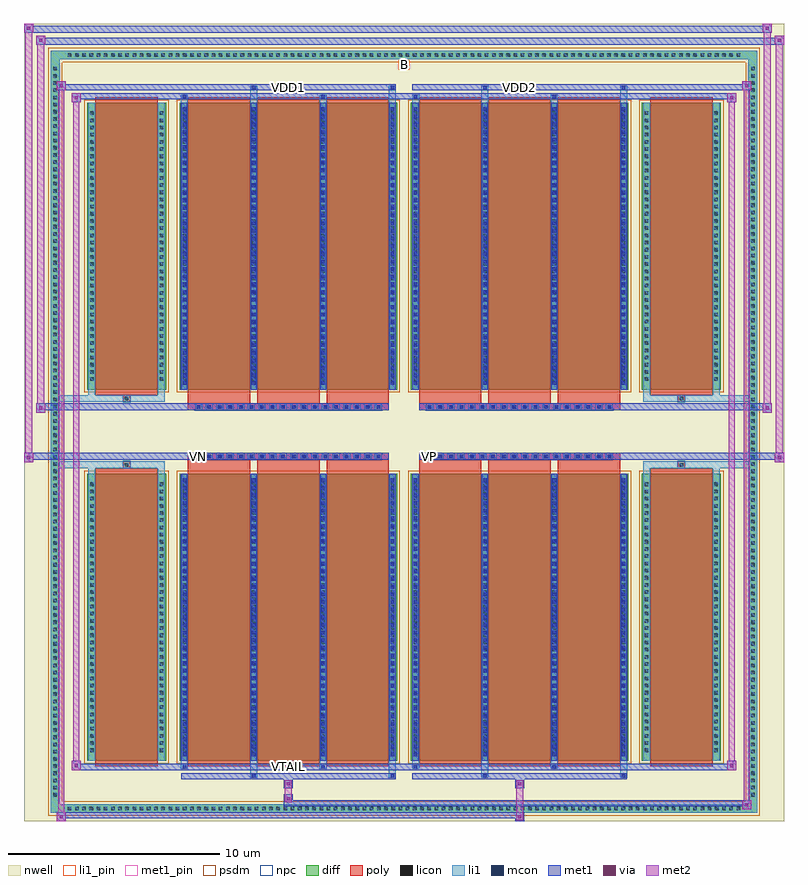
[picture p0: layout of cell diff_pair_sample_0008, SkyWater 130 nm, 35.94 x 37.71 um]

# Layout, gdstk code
import gdstk
lib = gdstk.Library(unit=1e-6, precision=5e-09)
def R(c, l, rs):  # rectangles x0, y0, x1, y1
    for r in rs: c.add(gdstk.rectangle(r[:2], r[2:], *l))
def A(c, l, x, y, w, h, nx, ny, dx, dy):  # array of equal rectangles
    R(c, l, [(x+i*dx, y+j*dy, x+i*dx+w, y+j*dy+h) for i in range(nx) for j in range(ny)])
def P(c, l, *ps):  # polygons
    for p in ps: c.add(gdstk.Polygon(p, *l))
nwell = (64, 20)
diff = (65, 20)
poly = (66, 20)
licon = (66, 44)
li1_pin = (67, 16)
li1 = (67, 20)
mcon = (67, 44)
met1_pin = (68, 16)
met1 = (68, 20)
via = (68, 44)
met2 = (69, 20)
psdm = (94, 20)
npc = (95, 20)

diff_pair_sample_0008 = lib.new_cell('diff_pair_sample_0008')
R(diff_pair_sample_0008, nwell, [(-17.97,-18.42,17.97,19.29), (-15.29,-16.61,-0.01,-0.805), (0.01,-16.61,15.29,-0.805), (-15.29,0.805,-0.01,16.61), (0.01,0.805,15.29,16.61)])
A(diff_pair_sample_0008, diff, -16.015, -18.02, 0.41, 0.41, 94, 2, 0.34, 35.63)
A(diff_pair_sample_0008, diff, -16.7, -17.375, 0.41, 0.41, 1, 102, 0, 0.34)
A(diff_pair_sample_0008, diff, 16.29, -17.375, 0.41, 0.41, 1, 102, 0, 0.34)
R(diff_pair_sample_0008, diff, [(-16.015,-18.02,16.015,-17.61), (-16.7,-17.375,-16.29,17.375), (16.29,-17.375,16.7,17.375), (-14.98,-15.565,-11.25,-1.985), (-10.61,-15.565,-0.32,-1.985), (0.32,-15.565,10.61,-1.985), (11.25,-15.565,14.98,-1.985), (-14.98,1.985,-11.25,15.565), (-10.61,1.985,-0.32,15.565), (0.32,1.985,10.61,15.565), (11.25,1.985,14.98,15.565), (-16.015,17.61,16.015,18.02)])
P(diff_pair_sample_0008, diff, [(16.7,18.02),(-16.7,18.02),(-16.7,-17.61),(-16.29,-17.61),(-16.29,17.61),(16.29,17.61),(16.29,-17.61),(-16.29,-17.61),(-16.7,-17.61),(-16.7,-18.02),(16.7,-18.02)])
A(diff_pair_sample_0008, poly, -10.22, -15.815, 2.95, 14.08, 3, 2, 3.28, 17.55)
A(diff_pair_sample_0008, poly, 0.71, -15.815, 2.95, 14.08, 3, 2, 3.28, 17.55)
A(diff_pair_sample_0008, poly, -10.22, -1.735, 2.95, 0.4, 3, 2, 3.28, 3.07)
A(diff_pair_sample_0008, poly, 0.71, -1.735, 2.95, 0.4, 3, 2, 3.28, 3.07)
A(diff_pair_sample_0008, poly, -9.88, -1.335, 0.33, 0.33, 18, 2, 0.5, 2.34)
A(diff_pair_sample_0008, poly, 1.05, -1.335, 0.33, 0.33, 18, 2, 0.5, 2.34)
R(diff_pair_sample_0008, poly, [(-14.59,-15.815,-11.64,-1.735), (11.64,-15.815,14.59,-1.735), (-13.28,-1.735,-12.95,-1.405), (-13.28,-1.735,-12.95,-1.405), (12.95,-1.735,13.28,-1.405), (12.95,-1.735,13.28,-1.405), (-10.22,-1.335,-0.71,-1.005), (0.71,-1.335,10.22,-1.005), (-10.22,1.005,-0.71,1.335), (0.71,1.005,10.22,1.335), (-13.28,1.405,-12.95,1.735), (-13.28,1.405,-12.95,1.735), (12.95,1.405,13.28,1.735), (12.95,1.405,13.28,1.735), (-14.59,1.735,-11.64,15.815), (11.64,1.735,14.59,15.815)])
A(diff_pair_sample_0008, licon, -15.895, -17.9, 0.17, 0.17, 94, 2, 0.34, 35.63)
A(diff_pair_sample_0008, licon, -16.58, -17.255, 0.17, 0.17, 1, 102, 0, 0.34)
A(diff_pair_sample_0008, licon, 16.41, -17.255, 0.17, 0.17, 1, 102, 0, 0.34)
A(diff_pair_sample_0008, licon, -14.84, -15.15, 0.17, 0.17, 1, 38, 0, 0.34)
A(diff_pair_sample_0008, licon, -11.56, -15.15, 0.17, 0.17, 1, 38, 0, 0.34)
A(diff_pair_sample_0008, licon, -10.47, -15.15, 0.17, 0.17, 4, 38, 3.28, 0.34)
A(diff_pair_sample_0008, licon, 0.46, -15.15, 0.17, 0.17, 4, 38, 3.28, 0.34)
A(diff_pair_sample_0008, licon, 11.39, -15.15, 0.17, 0.17, 1, 38, 0, 0.34)
A(diff_pair_sample_0008, licon, 14.67, -15.15, 0.17, 0.17, 1, 38, 0, 0.34)
A(diff_pair_sample_0008, licon, -9.8, -1.255, 0.17, 0.17, 18, 2, 0.5, 2.34)
A(diff_pair_sample_0008, licon, 1.13, -1.255, 0.17, 0.17, 18, 2, 0.5, 2.34)
A(diff_pair_sample_0008, licon, -14.84, 2.4, 0.17, 0.17, 1, 38, 0, 0.34)
A(diff_pair_sample_0008, licon, -11.56, 2.4, 0.17, 0.17, 1, 38, 0, 0.34)
A(diff_pair_sample_0008, licon, -10.47, 2.4, 0.17, 0.17, 4, 38, 3.28, 0.34)
A(diff_pair_sample_0008, licon, 0.46, 2.4, 0.17, 0.17, 4, 38, 3.28, 0.34)
A(diff_pair_sample_0008, licon, 11.39, 2.4, 0.17, 0.17, 1, 38, 0, 0.34)
A(diff_pair_sample_0008, licon, 14.67, 2.4, 0.17, 0.17, 1, 38, 0, 0.34)
R(diff_pair_sample_0008, licon, [(-13.2,-1.655,-13.03,-1.485), (13.03,-1.655,13.2,-1.485), (-13.2,1.485,-13.03,1.655), (13.03,1.485,13.2,1.655)])
R(diff_pair_sample_0008, li1_pin, [(-0.25,17.11,0.25,17.61)])
A(diff_pair_sample_0008, li1, -15.975, -17.98, 0.33, 0.33, 94, 2, 0.34, 35.63)
A(diff_pair_sample_0008, li1, -16.66, -17.335, 0.33, 0.33, 1, 102, 0, 0.34)
A(diff_pair_sample_0008, li1, 16.33, -17.335, 0.33, 0.33, 1, 102, 0, 0.34)
A(diff_pair_sample_0008, li1, -10.55, -15.565, 0.33, 13.58, 4, 2, 3.28, 17.55)
A(diff_pair_sample_0008, li1, 0.38, -15.565, 0.33, 13.58, 4, 2, 3.28, 17.55)
A(diff_pair_sample_0008, li1, -10.47, -15.34, 0.17, 0.17, 4, 37, 3.28, 0.36)
A(diff_pair_sample_0008, li1, -10.47, -15.34, 0.17, 13.13, 4, 2, 3.28, 17.55)
A(diff_pair_sample_0008, li1, 0.46, -15.34, 0.17, 0.17, 4, 37, 3.28, 0.36)
A(diff_pair_sample_0008, li1, 0.46, -15.34, 0.17, 13.13, 4, 2, 3.28, 17.55)
A(diff_pair_sample_0008, li1, -14.92, -15.23, 0.33, 0.33, 1, 38, 0, 0.34)
A(diff_pair_sample_0008, li1, -11.64, -15.23, 0.33, 0.33, 1, 38, 0, 0.34)
A(diff_pair_sample_0008, li1, -10.55, -15.23, 0.33, 0.33, 4, 38, 3.28, 0.34)
A(diff_pair_sample_0008, li1, 0.38, -15.23, 0.33, 0.33, 4, 38, 3.28, 0.34)
A(diff_pair_sample_0008, li1, 11.31, -15.23, 0.33, 0.33, 1, 38, 0, 0.34)
A(diff_pair_sample_0008, li1, 14.59, -15.23, 0.33, 0.33, 1, 38, 0, 0.34)
A(diff_pair_sample_0008, li1, -9.88, -1.335, 0.33, 0.33, 18, 2, 0.5, 2.34)
A(diff_pair_sample_0008, li1, 1.05, -1.335, 0.33, 0.33, 18, 2, 0.5, 2.34)
A(diff_pair_sample_0008, li1, -10.47, 2.21, 0.17, 0.17, 4, 37, 3.28, 0.36)
A(diff_pair_sample_0008, li1, 0.46, 2.21, 0.17, 0.17, 4, 37, 3.28, 0.36)
A(diff_pair_sample_0008, li1, -14.92, 2.32, 0.33, 0.33, 1, 38, 0, 0.34)
A(diff_pair_sample_0008, li1, -11.64, 2.32, 0.33, 0.33, 1, 38, 0, 0.34)
A(diff_pair_sample_0008, li1, -10.55, 2.32, 0.33, 0.33, 4, 38, 3.28, 0.34)
A(diff_pair_sample_0008, li1, 0.38, 2.32, 0.33, 0.33, 4, 38, 3.28, 0.34)
A(diff_pair_sample_0008, li1, 11.31, 2.32, 0.33, 0.33, 1, 38, 0, 0.34)
A(diff_pair_sample_0008, li1, 14.59, 2.32, 0.33, 0.33, 1, 38, 0, 0.34)
R(diff_pair_sample_0008, li1, [(-16.7,-18.02,-16.29,-17.61), (-16.7,-18.02,-16.29,-17.61), (-16.29,-18.02,16.29,-17.61), (16.29,-18.02,16.7,-17.61), (16.29,-18.02,16.7,-17.61), (-16.7,-17.61,-16.29,17.61), (16.29,-17.61,16.7,17.61), (-7.27,-16.37,-6.94,-15.565), (-7.19,-16.37,-7.02,-16.2), (-0.71,-16.37,-0.38,-15.565), (-0.63,-16.37,-0.46,-16.2), (3.66,-16.37,3.99,-15.565), (3.74,-16.37,3.91,-16.2), (10.22,-16.37,10.55,-15.565), (10.3,-16.37,10.47,-16.2), (-10.55,-15.94,-10.22,-15.565), (-10.47,-15.94,-10.3,-15.77), (-3.99,-15.94,-3.66,-15.565), (-3.91,-15.94,-3.74,-15.77), (0.38,-15.94,0.71,-15.565), (0.46,-15.94,0.63,-15.77), (6.94,-15.94,7.27,-15.565), (7.02,-15.94,7.19,-15.77), (-14.92,-15.565,-14.59,-1.985), (-11.64,-15.565,-11.31,-1.985), (11.31,-15.565,11.64,-1.985), (14.59,-15.565,14.92,-1.985), (-14.92,-1.985,-14.59,-1.405), (-11.64,-1.985,-11.31,-1.405), (11.31,-1.985,11.64,-1.405), (14.59,-1.985,14.92,-1.405), (-16.7,-1.735,-13.28,-1.405), (-14.92,-1.735,-13.28,-1.405), (-13.28,-1.735,-12.95,-1.405), (-12.95,-1.735,-11.31,-1.405), (11.31,-1.735,12.95,-1.405), (12.95,-1.735,13.28,-1.405), (12.95,-1.735,16.7,-1.405), (13.28,-1.735,14.92,-1.405), (-16.7,1.405,-13.28,1.735), (-14.92,1.405,-13.28,1.735), (-14.92,1.405,-14.59,1.985), (-13.28,1.405,-12.95,1.735), (-12.95,1.405,-11.31,1.735), (-11.64,1.405,-11.31,1.985), (11.31,1.405,12.95,1.735), (11.31,1.405,11.64,1.985), (12.95,1.405,13.28,1.735), (12.95,1.405,16.7,1.735), (13.28,1.405,14.92,1.735), (14.59,1.405,14.92,1.985), (-14.92,1.985,-14.59,15.565), (-11.64,1.985,-11.31,15.565), (11.31,1.985,11.64,15.565), (14.59,1.985,14.92,15.565), (-10.55,15.565,-10.22,15.94), (-7.27,15.565,-6.94,16.37), (-3.99,15.565,-3.66,15.94), (-0.71,15.565,-0.38,16.37), (0.38,15.565,0.71,15.94), (3.66,15.565,3.99,16.37), (6.94,15.565,7.27,15.94), (10.22,15.565,10.55,16.37), (-10.47,15.77,-10.3,15.94), (-3.91,15.77,-3.74,15.94), (0.46,15.77,0.63,15.94), (7.02,15.77,7.19,15.94), (-7.19,16.2,-7.02,16.37), (-0.63,16.2,-0.46,16.37), (3.74,16.2,3.91,16.37), (10.3,16.2,10.47,16.37), (-16.7,17.61,-16.29,18.02), (-16.7,17.61,-16.29,18.02), (-16.29,17.61,16.29,18.02), (16.29,17.61,16.7,18.02), (16.29,17.61,16.7,18.02)])
A(diff_pair_sample_0008, mcon, -10.47, -15.34, 0.17, 0.17, 4, 37, 3.28, 0.36)
A(diff_pair_sample_0008, mcon, 0.46, -15.34, 0.17, 0.17, 4, 37, 3.28, 0.36)
A(diff_pair_sample_0008, mcon, -9.8, -1.255, 0.17, 0.17, 18, 2, 0.5, 2.34)
A(diff_pair_sample_0008, mcon, 1.13, -1.255, 0.17, 0.17, 18, 2, 0.5, 2.34)
A(diff_pair_sample_0008, mcon, -10.47, 2.21, 0.17, 0.17, 4, 37, 3.28, 0.36)
A(diff_pair_sample_0008, mcon, 0.46, 2.21, 0.17, 0.17, 4, 37, 3.28, 0.36)
R(diff_pair_sample_0008, mcon, [(-7.19,-16.37,-7.02,-16.2), (-0.63,-16.37,-0.46,-16.2), (3.74,-16.37,3.91,-16.2), (10.3,-16.37,10.47,-16.2), (-10.47,-15.94,-10.3,-15.77), (-3.91,-15.94,-3.74,-15.77), (0.46,-15.94,0.63,-15.77), (7.02,-15.94,7.19,-15.77), (-10.47,15.77,-10.3,15.94), (-3.91,15.77,-3.74,15.94), (0.46,15.77,0.63,15.94), (7.02,15.77,7.19,15.94), (-7.19,16.2,-7.02,16.37), (-0.63,16.2,-0.46,16.37), (3.74,16.2,3.91,16.37), (10.3,16.2,10.47,16.37)])
R(diff_pair_sample_0008, met1_pin, [(-5.6,-15.98,-5.33,-15.71), (-9.85,-1.295,-9.58,-1.025), (1.08,-1.295,1.35,-1.025), (-5.6,16.16,-5.33,16.43), (5.33,16.16,5.6,16.43)])
A(diff_pair_sample_0008, met1, -10.53, -15.565, 0.29, 13.58, 4, 2, 3.28, 17.55)
A(diff_pair_sample_0008, met1, 0.4, -15.565, 0.29, 13.58, 4, 2, 3.28, 17.55)
A(diff_pair_sample_0008, met1, -10.53, -15.4, 0.29, 0.29, 4, 37, 3.28, 0.36)
A(diff_pair_sample_0008, met1, 0.4, -15.4, 0.29, 0.29, 4, 37, 3.28, 0.36)
A(diff_pair_sample_0008, met1, -9.86, -1.315, 0.29, 0.29, 18, 2, 0.5, 2.34)
A(diff_pair_sample_0008, met1, 1.07, -1.315, 0.29, 0.29, 18, 2, 0.5, 2.34)
A(diff_pair_sample_0008, met1, -10.53, 2.15, 0.29, 0.29, 4, 37, 3.28, 0.36)
A(diff_pair_sample_0008, met1, 0.4, 2.15, 0.29, 0.29, 4, 37, 3.28, 0.36)
R(diff_pair_sample_0008, met1, [(-16.43,-18.42,-16,-17.99), (5.25,-18.42,5.68,-17.99), (-16.43,-18.28,5.68,-17.99), (16,-17.85,16.43,-17.42), (-5.68,-17.71,16.43,-17.42), (-5.68,-17.57,-5.25,-17.14), (-5.68,-16.86,-5.25,-16.43), (5.25,-16.86,5.68,-16.43), (-10.53,-16.43,-0.4,-16.14), (-7.25,-16.43,-6.96,-16.14), (-0.69,-16.43,-0.4,-16.14), (0.4,-16.43,10.53,-16.14), (3.68,-16.43,3.97,-16.14), (10.24,-16.43,10.53,-16.14), (-15.72,-16,-15.29,-15.57), (-15.72,-16,-10.53,-15.71), (-10.53,-16,-10.24,-15.71), (-10.53,-16,-0.4,-15.71), (-3.97,-16,-3.68,-15.71), (-0.4,-16,0.4,-15.71), (0.4,-16,0.69,-15.71), (0.4,-16,10.53,-15.71), (6.96,-16,7.25,-15.71), (10.53,-16,15.72,-15.71), (15.29,-16,15.72,-15.57), (-17.97,-1.435,-17.54,-1.005), (17.54,-1.435,17.97,-1.005), (-17.97,-1.335,-0.71,-1.005), (-10.22,-1.335,-0.71,-1.005), (0.71,-1.335,10.22,-1.005), (0.71,-1.335,17.97,-1.005), (-17.4,0.905,-16.97,1.335), (16.97,0.905,17.4,1.335), (-17.4,1.005,-10.22,1.335), (-10.22,1.005,-0.71,1.335), (0.71,1.005,10.22,1.335), (10.22,1.005,17.4,1.335), (-15.72,15.57,-15.29,16), (15.29,15.57,15.72,16), (-15.72,15.71,-10.53,16), (-10.53,15.71,-10.24,16), (-10.53,15.71,-0.4,16), (-3.97,15.71,-3.68,16), (-0.4,15.71,0.4,16), (0.4,15.71,0.69,16), (0.4,15.71,10.53,16), (6.96,15.71,7.25,16), (10.53,15.71,15.72,16), (-16.43,16.14,-16,16.57), (-16.43,16.14,-10.53,16.43), (-10.53,16.14,-0.4,16.43), (-7.25,16.14,-6.96,16.43), (-0.69,16.14,-0.4,16.43), (0.4,16.14,10.53,16.43), (3.68,16.14,3.97,16.43), (10.24,16.14,10.53,16.43), (10.53,16.14,16.43,16.43), (16,16.14,16.43,16.57), (-17.4,18.29,-16.97,18.72), (-17.4,18.29,-15.29,18.62), (-15.29,18.29,15.29,18.62), (15.29,18.29,17.97,18.62), (17.54,18.29,17.97,18.72), (-17.97,18.86,-17.54,19.29), (-17.97,18.86,-15.29,19.19), (-15.29,18.86,15.29,19.19), (15.29,18.86,17.4,19.19), (16.97,18.86,17.4,19.29)])
R(diff_pair_sample_0008, via, [(-16.29,-18.28,-16.14,-18.13), (5.39,-18.28,5.54,-18.13), (16.14,-17.71,16.29,-17.56), (-5.54,-17.43,-5.39,-17.28), (-5.54,-16.72,-5.39,-16.57), (5.39,-16.72,5.54,-16.57), (-15.58,-15.86,-15.43,-15.71), (15.43,-15.86,15.58,-15.71), (-17.83,-1.295,-17.68,-1.145), (17.68,-1.295,17.83,-1.145), (-17.26,1.045,-17.11,1.195), (17.11,1.045,17.26,1.195), (-15.58,15.71,-15.43,15.86), (15.43,15.71,15.58,15.86), (-16.29,16.28,-16.14,16.43), (16.14,16.28,16.29,16.43), (-17.26,18.43,-17.11,18.58), (17.68,18.43,17.83,18.58), (-17.83,19,-17.68,19.15), (17.11,19,17.26,19.15)])
R(diff_pair_sample_0008, met2, [(-16.43,-18.42,-16,-17.99), (-16.36,-18.42,-16.07,16.57), (-16.07,-18.42,-16,-17.99), (-16.38,-18.37,-16.05,-18.04), (5.3,-18.37,5.63,-18.04), (5.3,-18.04,5.63,-16.81), (16,-17.85,16.43,-17.42), (16.07,-17.85,16.36,16.57), (16.36,-17.85,16.43,-17.42), (16.05,-17.8,16.38,-17.47), (-5.63,-17.52,-5.3,-17.19), (-5.63,-17.19,-5.3,-16.81), (-5.63,-16.81,-5.3,-16.48), (5.3,-16.81,5.63,-16.48), (-15.72,-16,-15.29,-15.57), (-15.65,-16,-15.36,16), (-15.36,-16,-15.29,-15.57), (15.29,-16,15.72,-15.57), (15.36,-16,15.65,16), (15.65,-16,15.72,-15.57), (-15.67,-15.95,-15.34,-15.62), (15.34,-15.95,15.67,-15.62), (-17.97,-1.435,-17.54,-1.005), (-17.92,-1.435,-17.59,19.29), (-17.59,-1.435,-17.54,-1.005), (17.54,-1.435,17.97,-1.005), (17.59,-1.435,17.92,18.72), (17.92,-1.435,17.97,-1.005), (-17.92,-1.385,-17.59,-1.055), (17.59,-1.385,17.92,-1.055), (-17.4,0.905,-16.97,1.335), (-17.35,0.905,-17.02,18.72), (-17.02,0.905,-16.97,1.335), (16.97,0.905,17.4,1.335), (17.02,0.905,17.35,19.29), (17.35,0.905,17.4,1.335), (-17.35,0.955,-17.02,1.285), (17.02,0.955,17.35,1.285), (-15.72,15.57,-15.29,16), (-15.36,15.57,-15.29,16), (15.29,15.57,15.72,16), (15.65,15.57,15.72,16), (-15.67,15.62,-15.34,15.95), (15.34,15.62,15.67,15.95), (-16.43,16.14,-16,16.57), (-16.07,16.14,-16,16.57), (16,16.14,16.43,16.57), (16.36,16.14,16.43,16.57), (-16.38,16.19,-16.05,16.52), (16.05,16.19,16.38,16.52), (-17.4,18.29,-16.97,18.72), (-17.02,18.29,-16.97,18.72), (17.54,18.29,17.97,18.72), (17.92,18.29,17.97,18.72), (-17.35,18.34,-17.02,18.67), (17.59,18.34,17.92,18.67), (-17.97,18.86,-17.54,19.29), (-17.59,18.86,-17.54,19.29), (16.97,18.86,17.4,19.29), (17.35,18.86,17.4,19.29), (-17.92,18.91,-17.59,19.24), (17.02,18.91,17.35,19.24)])
R(diff_pair_sample_0008, psdm, [(-15.11,-15.695,-11.12,-1.855), (-10.74,-15.695,-0.19,-1.855), (0.19,-15.695,10.74,-1.855), (11.12,-15.695,15.11,-1.855), (-15.11,1.855,-11.12,15.695), (-10.74,1.855,-0.19,15.695), (0.19,1.855,10.74,15.695), (11.12,1.855,15.11,15.695)])
P(diff_pair_sample_0008, psdm, [(16.83,18.15),(-16.83,18.15),(-16.83,-17.48),(-16.16,-17.48),(-16.16,17.48),(16.16,17.48),(16.16,-17.48),(-16.16,-17.48),(-16.83,-17.48),(-16.83,-18.15),(16.83,-18.15)])
A(diff_pair_sample_0008, npc, -9.9, -1.355, 0.37, 0.37, 18, 2, 0.5, 2.34)
A(diff_pair_sample_0008, npc, 1.03, -1.355, 0.37, 0.37, 18, 2, 0.5, 2.34)
R(diff_pair_sample_0008, npc, [(-13.3,-1.755,-12.93,-1.385), (12.93,-1.755,13.3,-1.385), (-9.9,-1.355,-9.03,-0.985), (-9.9,-1.355,-9.03,-0.985), (-9.4,-1.355,-8.53,-0.985), (-9.4,-1.355,-8.53,-0.985), (-8.9,-1.355,-8.03,-0.985), (-8.9,-1.355,-8.03,-0.985), (-8.4,-1.355,-7.53,-0.985), (-8.4,-1.355,-7.53,-0.985), (-7.9,-1.355,-7.03,-0.985), (-7.9,-1.355,-7.03,-0.985), (-7.4,-1.355,-6.53,-0.985), (-7.4,-1.355,-6.53,-0.985), (-6.9,-1.355,-6.03,-0.985), (-6.9,-1.355,-6.03,-0.985), (-6.4,-1.355,-5.53,-0.985), (-6.4,-1.355,-5.53,-0.985), (-5.9,-1.355,-5.03,-0.985), (-5.9,-1.355,-5.03,-0.985), (-5.4,-1.355,-4.53,-0.985), (-5.4,-1.355,-4.53,-0.985), (-4.9,-1.355,-4.03,-0.985), (-4.9,-1.355,-4.03,-0.985), (-4.4,-1.355,-3.53,-0.985), (-4.4,-1.355,-3.53,-0.985), (-3.9,-1.355,-3.03,-0.985), (-3.9,-1.355,-3.03,-0.985), (-3.4,-1.355,-2.53,-0.985), (-3.4,-1.355,-2.53,-0.985), (-2.9,-1.355,-2.03,-0.985), (-2.9,-1.355,-2.03,-0.985), (-2.4,-1.355,-1.53,-0.985), (-2.4,-1.355,-1.53,-0.985), (-1.9,-1.355,-1.03,-0.985), (-1.9,-1.355,-1.03,-0.985), (1.03,-1.355,1.9,-0.985), (1.03,-1.355,1.9,-0.985), (1.53,-1.355,2.4,-0.985), (1.53,-1.355,2.4,-0.985), (2.03,-1.355,2.9,-0.985), (2.03,-1.355,2.9,-0.985), (2.53,-1.355,3.4,-0.985), (2.53,-1.355,3.4,-0.985), (3.03,-1.355,3.9,-0.985), (3.03,-1.355,3.9,-0.985), (3.53,-1.355,4.4,-0.985), (3.53,-1.355,4.4,-0.985), (4.03,-1.355,4.9,-0.985), (4.03,-1.355,4.9,-0.985), (4.53,-1.355,5.4,-0.985), (4.53,-1.355,5.4,-0.985), (5.03,-1.355,5.9,-0.985), (5.03,-1.355,5.9,-0.985), (5.53,-1.355,6.4,-0.985), (5.53,-1.355,6.4,-0.985), (6.03,-1.355,6.9,-0.985), (6.03,-1.355,6.9,-0.985), (6.53,-1.355,7.4,-0.985), (6.53,-1.355,7.4,-0.985), (7.03,-1.355,7.9,-0.985), (7.03,-1.355,7.9,-0.985), (7.53,-1.355,8.4,-0.985), (7.53,-1.355,8.4,-0.985), (8.03,-1.355,8.9,-0.985), (8.03,-1.355,8.9,-0.985), (8.53,-1.355,9.4,-0.985), (8.53,-1.355,9.4,-0.985), (9.03,-1.355,9.9,-0.985), (9.03,-1.355,9.9,-0.985), (-9.9,0.985,-9.03,1.355), (-9.9,0.985,-9.03,1.355), (-9.4,0.985,-8.53,1.355), (-9.4,0.985,-8.53,1.355), (-8.9,0.985,-8.03,1.355), (-8.9,0.985,-8.03,1.355), (-8.4,0.985,-7.53,1.355), (-8.4,0.985,-7.53,1.355), (-7.9,0.985,-7.03,1.355), (-7.9,0.985,-7.03,1.355), (-7.4,0.985,-6.53,1.355), (-7.4,0.985,-6.53,1.355), (-6.9,0.985,-6.03,1.355), (-6.9,0.985,-6.03,1.355), (-6.4,0.985,-5.53,1.355), (-6.4,0.985,-5.53,1.355), (-5.9,0.985,-5.03,1.355), (-5.9,0.985,-5.03,1.355), (-5.4,0.985,-4.53,1.355), (-5.4,0.985,-4.53,1.355), (-4.9,0.985,-4.03,1.355), (-4.9,0.985,-4.03,1.355), (-4.4,0.985,-3.53,1.355), (-4.4,0.985,-3.53,1.355), (-3.9,0.985,-3.03,1.355), (-3.9,0.985,-3.03,1.355), (-3.4,0.985,-2.53,1.355), (-3.4,0.985,-2.53,1.355), (-2.9,0.985,-2.03,1.355), (-2.9,0.985,-2.03,1.355), (-2.4,0.985,-1.53,1.355), (-2.4,0.985,-1.53,1.355), (-1.9,0.985,-1.03,1.355), (-1.9,0.985,-1.03,1.355), (1.03,0.985,1.9,1.355), (1.03,0.985,1.9,1.355), (1.53,0.985,2.4,1.355), (1.53,0.985,2.4,1.355), (2.03,0.985,2.9,1.355), (2.03,0.985,2.9,1.355), (2.53,0.985,3.4,1.355), (2.53,0.985,3.4,1.355), (3.03,0.985,3.9,1.355), (3.03,0.985,3.9,1.355), (3.53,0.985,4.4,1.355), (3.53,0.985,4.4,1.355), (4.03,0.985,4.9,1.355), (4.03,0.985,4.9,1.355), (4.53,0.985,5.4,1.355), (4.53,0.985,5.4,1.355), (5.03,0.985,5.9,1.355), (5.03,0.985,5.9,1.355), (5.53,0.985,6.4,1.355), (5.53,0.985,6.4,1.355), (6.03,0.985,6.9,1.355), (6.03,0.985,6.9,1.355), (6.53,0.985,7.4,1.355), (6.53,0.985,7.4,1.355), (7.03,0.985,7.9,1.355), (7.03,0.985,7.9,1.355), (7.53,0.985,8.4,1.355), (7.53,0.985,8.4,1.355), (8.03,0.985,8.9,1.355), (8.03,0.985,8.9,1.355), (8.53,0.985,9.4,1.355), (8.53,0.985,9.4,1.355), (9.03,0.985,9.9,1.355), (9.03,0.985,9.9,1.355), (-13.3,1.385,-12.93,1.755), (12.93,1.385,13.3,1.755)])
diff_pair_sample_0008.add(gdstk.Label('VTAIL', (-5.465,-15.845), layer=68, texttype=5))
diff_pair_sample_0008.add(gdstk.Label('VN', (-9.715,-1.16), layer=68, texttype=5))
diff_pair_sample_0008.add(gdstk.Label('VP', (1.215,-1.16), layer=68, texttype=5))
diff_pair_sample_0008.add(gdstk.Label('B', (0,17.36), layer=67, texttype=5))
diff_pair_sample_0008.add(gdstk.Label('VDD2', (5.465,16.295), layer=68, texttype=5))
diff_pair_sample_0008.add(gdstk.Label('VDD1', (-5.465,16.295), layer=68, texttype=5))

lib.write_gds('diff_pair_sample_0008.gds')
